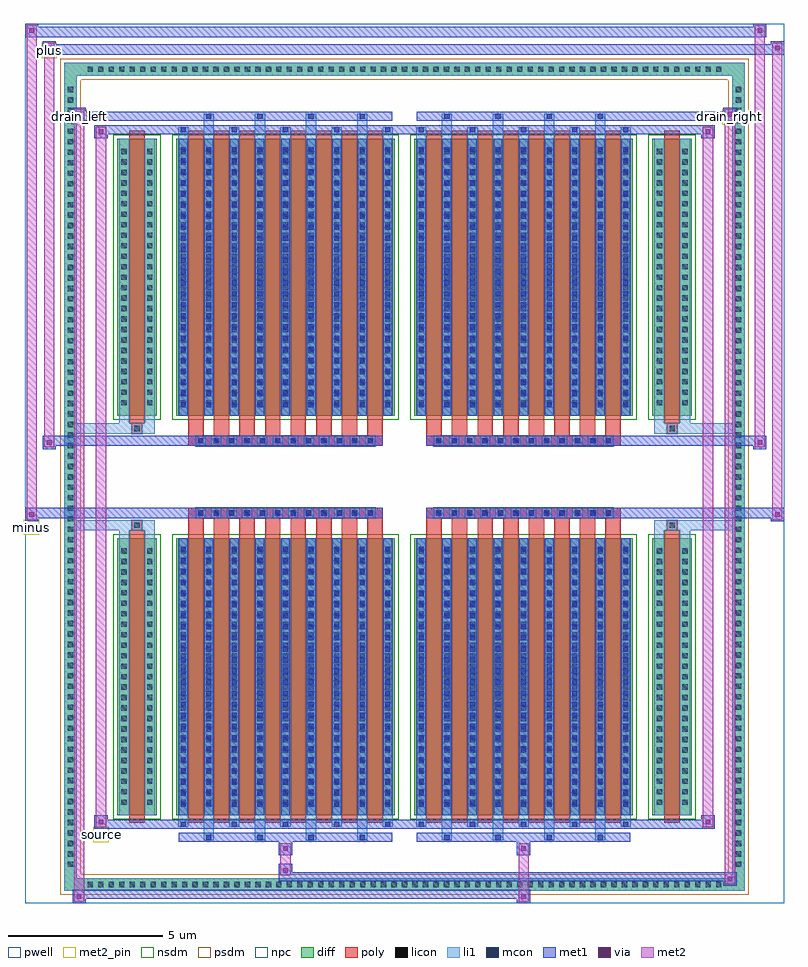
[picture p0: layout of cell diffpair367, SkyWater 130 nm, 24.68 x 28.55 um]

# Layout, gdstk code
import gdstk
lib = gdstk.Library(unit=1e-6, precision=5e-09)
def R(c, l, rs):  # rectangles x0, y0, x1, y1
    for r in rs: c.add(gdstk.rectangle(r[:2], r[2:], *l))
def A(c, l, x, y, w, h, nx, ny, dx, dy):  # array of equal rectangles
    R(c, l, [(x+i*dx, y+j*dy, x+i*dx+w, y+j*dy+h) for i in range(nx) for j in range(ny)])
def P(c, l, *ps):  # polygons
    for p in ps: c.add(gdstk.Polygon(p, *l))
pwell = (64, 44)
diff = (65, 20)
poly = (66, 20)
licon = (66, 44)
li1 = (67, 20)
mcon = (67, 44)
met1 = (68, 20)
via = (68, 44)
met2_pin = (69, 16)
met2 = (69, 20)
nsdm = (93, 44)
psdm = (94, 20)
npc = (95, 20)

diffpair367 = lib.new_cell('diffpair367')
R(diffpair367, pwell, [(-12.32,-13.84,12.32,14.71), (-9.64,-12.03,-0.01,-0.805), (0.01,-12.03,9.64,-0.805), (-9.64,0.805,-0.01,12.03), (0.01,0.805,9.64,12.03)])
A(diffpair367, diff, -10.405, -13.44, 0.41, 0.41, 61, 2, 0.34, 26.47)
A(diffpair367, diff, -11.05, -12.785, 0.41, 0.41, 1, 75, 0, 0.34)
A(diffpair367, diff, 10.64, -12.785, 0.41, 0.41, 1, 75, 0, 0.34)
R(diffpair367, diff, [(-10.405,-13.44,10.405,-13.03), (-11.05,-12.785,-10.64,12.785), (10.64,-12.785,11.05,12.785), (-9.33,-10.985,-8.05,-1.985), (-7.41,-10.985,-0.32,-1.985), (0.32,-10.985,7.41,-1.985), (8.05,-10.985,9.33,-1.985), (-9.33,1.985,-8.05,10.985), (-7.41,1.985,-0.32,10.985), (0.32,1.985,7.41,10.985), (8.05,1.985,9.33,10.985), (-10.405,13.03,10.405,13.44)])
P(diffpair367, diff, [(11.05,13.44),(-11.05,13.44),(-11.05,-13.03),(-10.64,-13.03),(-10.64,13.03),(10.64,13.03),(10.64,-13.03),(-10.64,-13.03),(-11.05,-13.03),(-11.05,-13.44),(11.05,-13.44)])
A(diffpair367, poly, -7.02, -11.235, 0.5, 9.5, 8, 2, 0.83, 12.97)
A(diffpair367, poly, 0.71, -11.235, 0.5, 9.5, 8, 2, 0.83, 12.97)
A(diffpair367, poly, -7.02, -1.735, 0.5, 0.4, 8, 2, 0.83, 3.07)
A(diffpair367, poly, 0.71, -1.735, 0.5, 0.4, 8, 2, 0.83, 3.07)
A(diffpair367, poly, -6.78, -1.335, 0.33, 0.33, 12, 2, 0.5, 2.34)
A(diffpair367, poly, 0.95, -1.335, 0.33, 0.33, 12, 2, 0.5, 2.34)
R(diffpair367, poly, [(-8.94,-11.235,-8.44,-1.735), (8.44,-11.235,8.94,-1.735), (-8.855,-1.735,-8.525,-1.405), (-8.855,-1.735,-8.525,-1.405), (8.525,-1.735,8.855,-1.405), (8.525,-1.735,8.855,-1.405), (-7.02,-1.335,-0.71,-1.005), (0.71,-1.335,7.02,-1.005), (-7.02,1.005,-0.71,1.335), (0.71,1.005,7.02,1.335), (-8.855,1.405,-8.525,1.735), (-8.855,1.405,-8.525,1.735), (8.525,1.405,8.855,1.735), (8.525,1.405,8.855,1.735), (-8.94,1.735,-8.44,11.235), (8.44,1.735,8.94,11.235)])
A(diffpair367, licon, -10.285, -13.32, 0.17, 0.17, 61, 2, 0.34, 26.47)
A(diffpair367, licon, -10.93, -12.665, 0.17, 0.17, 1, 75, 0, 0.34)
A(diffpair367, licon, 10.76, -12.665, 0.17, 0.17, 1, 75, 0, 0.34)
A(diffpair367, licon, -9.19, -10.65, 0.17, 0.17, 1, 25, 0, 0.34)
A(diffpair367, licon, -8.36, -10.65, 0.17, 0.17, 1, 25, 0, 0.34)
A(diffpair367, licon, -7.27, -10.65, 0.17, 0.17, 9, 25, 0.83, 0.34)
A(diffpair367, licon, 0.46, -10.65, 0.17, 0.17, 9, 25, 0.83, 0.34)
A(diffpair367, licon, 8.19, -10.65, 0.17, 0.17, 1, 25, 0, 0.34)
A(diffpair367, licon, 9.02, -10.65, 0.17, 0.17, 1, 25, 0, 0.34)
A(diffpair367, licon, -6.7, -1.255, 0.17, 0.17, 12, 2, 0.5, 2.34)
A(diffpair367, licon, 1.03, -1.255, 0.17, 0.17, 12, 2, 0.5, 2.34)
A(diffpair367, licon, -9.19, 2.32, 0.17, 0.17, 1, 25, 0, 0.34)
A(diffpair367, licon, -8.36, 2.32, 0.17, 0.17, 1, 25, 0, 0.34)
A(diffpair367, licon, -7.27, 2.32, 0.17, 0.17, 9, 25, 0.83, 0.34)
A(diffpair367, licon, 0.46, 2.32, 0.17, 0.17, 9, 25, 0.83, 0.34)
A(diffpair367, licon, 8.19, 2.32, 0.17, 0.17, 1, 25, 0, 0.34)
A(diffpair367, licon, 9.02, 2.32, 0.17, 0.17, 1, 25, 0, 0.34)
R(diffpair367, licon, [(-8.775,-1.655,-8.605,-1.485), (8.605,-1.655,8.775,-1.485), (-8.775,1.485,-8.605,1.655), (8.605,1.485,8.775,1.655)])
A(diffpair367, li1, -10.365, -13.4, 0.33, 0.33, 61, 2, 0.34, 26.47)
A(diffpair367, li1, -11.01, -12.745, 0.33, 0.33, 1, 75, 0, 0.34)
A(diffpair367, li1, 10.68, -12.745, 0.33, 0.33, 1, 75, 0, 0.34)
A(diffpair367, li1, -6.52, -11.79, 0.33, 0.805, 4, 2, 1.66, 22.775)
A(diffpair367, li1, -6.44, -11.79, 0.17, 0.17, 4, 2, 1.66, 23.41)
A(diffpair367, li1, 1.21, -11.79, 0.33, 0.805, 4, 2, 1.66, 22.775)
A(diffpair367, li1, 1.29, -11.79, 0.17, 0.17, 4, 2, 1.66, 23.41)
A(diffpair367, li1, -7.35, -11.36, 0.33, 0.375, 5, 2, 1.66, 22.345)
A(diffpair367, li1, -7.27, -11.36, 0.17, 0.17, 5, 2, 1.66, 22.55)
A(diffpair367, li1, 0.38, -11.36, 0.33, 0.375, 5, 2, 1.66, 22.345)
A(diffpair367, li1, 0.46, -11.36, 0.17, 0.17, 5, 2, 1.66, 22.55)
A(diffpair367, li1, -7.35, -10.985, 0.33, 9, 9, 2, 0.83, 12.97)
A(diffpair367, li1, 0.38, -10.985, 0.33, 9, 9, 2, 0.83, 12.97)
A(diffpair367, li1, -9.27, -10.73, 0.33, 0.33, 1, 25, 0, 0.34)
A(diffpair367, li1, -8.44, -10.73, 0.33, 0.33, 1, 25, 0, 0.34)
A(diffpair367, li1, -7.35, -10.73, 0.33, 0.33, 9, 25, 0.83, 0.34)
A(diffpair367, li1, 0.38, -10.73, 0.33, 0.33, 9, 25, 0.83, 0.34)
A(diffpair367, li1, 8.11, -10.73, 0.33, 0.33, 1, 25, 0, 0.34)
A(diffpair367, li1, 8.94, -10.73, 0.33, 0.33, 1, 25, 0, 0.34)
A(diffpair367, li1, -7.27, -10.71, 0.17, 0.17, 9, 24, 0.83, 0.36)
A(diffpair367, li1, -7.27, -10.71, 0.17, 8.45, 9, 2, 0.83, 12.97)
A(diffpair367, li1, 0.46, -10.71, 0.17, 0.17, 9, 24, 0.83, 0.36)
A(diffpair367, li1, 0.46, -10.71, 0.17, 8.45, 9, 2, 0.83, 12.97)
A(diffpair367, li1, -6.78, -1.335, 0.33, 0.33, 12, 2, 0.5, 2.34)
A(diffpair367, li1, 0.95, -1.335, 0.33, 0.33, 12, 2, 0.5, 2.34)
A(diffpair367, li1, -9.27, 2.24, 0.33, 0.33, 1, 25, 0, 0.34)
A(diffpair367, li1, -8.44, 2.24, 0.33, 0.33, 1, 25, 0, 0.34)
A(diffpair367, li1, -7.35, 2.24, 0.33, 0.33, 9, 25, 0.83, 0.34)
A(diffpair367, li1, 0.38, 2.24, 0.33, 0.33, 9, 25, 0.83, 0.34)
A(diffpair367, li1, 8.11, 2.24, 0.33, 0.33, 1, 25, 0, 0.34)
A(diffpair367, li1, 8.94, 2.24, 0.33, 0.33, 1, 25, 0, 0.34)
A(diffpair367, li1, -7.27, 2.26, 0.17, 0.17, 9, 24, 0.83, 0.36)
A(diffpair367, li1, 0.46, 2.26, 0.17, 0.17, 9, 24, 0.83, 0.36)
R(diffpair367, li1, [(-11.05,-13.44,-10.64,-13.03), (-11.05,-13.44,-10.64,-13.03), (-10.64,-13.44,10.64,-13.03), (10.64,-13.44,11.05,-13.03), (10.64,-13.44,11.05,-13.03), (-11.05,-13.03,-10.64,13.03), (10.64,-13.03,11.05,13.03), (-9.27,-10.985,-8.94,-1.985), (-8.44,-10.985,-8.11,-1.985), (8.11,-10.985,8.44,-1.985), (8.94,-10.985,9.27,-1.985), (-9.27,-1.985,-8.94,-1.405), (-8.44,-1.985,-8.11,-1.405), (8.11,-1.985,8.44,-1.405), (8.94,-1.985,9.27,-1.405), (-11.05,-1.735,-8.855,-1.405), (-9.27,-1.735,-8.855,-1.405), (-8.855,-1.735,-8.525,-1.405), (-8.525,-1.735,-8.11,-1.405), (8.11,-1.735,8.525,-1.405), (8.525,-1.735,8.855,-1.405), (8.525,-1.735,11.05,-1.405), (8.855,-1.735,9.27,-1.405), (-11.05,1.405,-8.855,1.735), (-9.27,1.405,-8.855,1.735), (-9.27,1.405,-8.94,1.985), (-8.855,1.405,-8.525,1.735), (-8.525,1.405,-8.11,1.735), (-8.44,1.405,-8.11,1.985), (8.11,1.405,8.525,1.735), (8.11,1.405,8.44,1.985), (8.525,1.405,8.855,1.735), (8.525,1.405,11.05,1.735), (8.855,1.405,9.27,1.735), (8.94,1.405,9.27,1.985), (-9.27,1.985,-8.94,10.985), (-8.44,1.985,-8.11,10.985), (8.11,1.985,8.44,10.985), (8.94,1.985,9.27,10.985), (-11.05,13.03,-10.64,13.44), (-11.05,13.03,-10.64,13.44), (-10.64,13.03,10.64,13.44), (10.64,13.03,11.05,13.44), (10.64,13.03,11.05,13.44)])
A(diffpair367, mcon, -6.44, -11.79, 0.17, 0.17, 4, 2, 1.66, 23.41)
A(diffpair367, mcon, 1.29, -11.79, 0.17, 0.17, 4, 2, 1.66, 23.41)
A(diffpair367, mcon, -7.27, -11.36, 0.17, 0.17, 5, 2, 1.66, 22.55)
A(diffpair367, mcon, 0.46, -11.36, 0.17, 0.17, 5, 2, 1.66, 22.55)
A(diffpair367, mcon, -7.27, -10.71, 0.17, 0.17, 9, 24, 0.83, 0.36)
A(diffpair367, mcon, 0.46, -10.71, 0.17, 0.17, 9, 24, 0.83, 0.36)
A(diffpair367, mcon, -6.7, -1.255, 0.17, 0.17, 12, 2, 0.5, 2.34)
A(diffpair367, mcon, 1.03, -1.255, 0.17, 0.17, 12, 2, 0.5, 2.34)
A(diffpair367, mcon, -7.27, 2.26, 0.17, 0.17, 9, 24, 0.83, 0.36)
A(diffpair367, mcon, 0.46, 2.26, 0.17, 0.17, 9, 24, 0.83, 0.36)
A(diffpair367, met1, -6.5, -11.85, 0.29, 0.29, 4, 2, 1.66, 23.41)
A(diffpair367, met1, 1.23, -11.85, 0.29, 0.29, 4, 2, 1.66, 23.41)
A(diffpair367, met1, -7.33, -11.42, 0.29, 0.29, 5, 2, 1.66, 22.55)
A(diffpair367, met1, 0.4, -11.42, 0.29, 0.29, 5, 2, 1.66, 22.55)
A(diffpair367, met1, -7.33, -10.985, 0.29, 9, 9, 2, 0.83, 12.97)
A(diffpair367, met1, 0.4, -10.985, 0.29, 9, 9, 2, 0.83, 12.97)
A(diffpair367, met1, -7.33, -10.77, 0.29, 0.29, 9, 24, 0.83, 0.36)
A(diffpair367, met1, 0.4, -10.77, 0.29, 0.29, 9, 24, 0.83, 0.36)
A(diffpair367, met1, -6.76, -1.315, 0.29, 0.29, 12, 2, 0.5, 2.34)
A(diffpair367, met1, 0.97, -1.315, 0.29, 0.29, 12, 2, 0.5, 2.34)
A(diffpair367, met1, -7.33, 2.2, 0.29, 0.29, 9, 24, 0.83, 0.36)
A(diffpair367, met1, 0.4, 2.2, 0.29, 0.29, 9, 24, 0.83, 0.36)
R(diffpair367, met1, [(-10.78,-13.84,-10.35,-13.41), (3.65,-13.84,4.08,-13.41), (-10.78,-13.7,4.08,-13.41), (10.35,-13.27,10.78,-12.84), (-4.08,-13.13,10.78,-12.84), (-4.08,-12.99,-3.65,-12.56), (-4.08,-12.28,-3.65,-11.85), (3.65,-12.28,4.08,-11.85), (-7.33,-11.85,-0.4,-11.56), (0.4,-11.85,7.33,-11.56), (-10.07,-11.42,-9.64,-10.99), (-10.07,-11.42,-7.33,-11.13), (-7.33,-11.42,-0.4,-11.13), (-0.4,-11.42,0.4,-11.13), (0.4,-11.42,7.33,-11.13), (7.33,-11.42,10.07,-11.13), (9.64,-11.42,10.07,-10.99), (-12.32,-1.435,-11.89,-1.005), (11.89,-1.435,12.32,-1.005), (-12.32,-1.335,-0.71,-1.005), (-7.02,-1.335,-0.71,-1.005), (0.71,-1.335,7.02,-1.005), (0.71,-1.335,12.32,-1.005), (-11.75,0.905,-11.32,1.335), (11.32,0.905,11.75,1.335), (-11.75,1.005,-7.02,1.335), (-7.02,1.005,-0.71,1.335), (0.71,1.005,7.02,1.335), (7.02,1.005,11.75,1.335), (-10.07,10.99,-9.64,11.42), (9.64,10.99,10.07,11.42), (-10.07,11.13,-7.33,11.42), (-7.33,11.13,-0.4,11.42), (-0.4,11.13,0.4,11.42), (0.4,11.13,7.33,11.42), (7.33,11.13,10.07,11.42), (-10.78,11.56,-10.35,11.99), (-10.78,11.56,-7.33,11.85), (-7.33,11.56,-0.4,11.85), (0.4,11.56,7.33,11.85), (7.33,11.56,10.78,11.85), (10.35,11.56,10.78,11.99), (-11.75,13.71,-11.32,14.14), (-11.75,13.71,-9.64,14.04), (-9.64,13.71,9.64,14.04), (9.64,13.71,12.32,14.04), (11.89,13.71,12.32,14.14), (-12.32,14.28,-11.89,14.71), (-12.32,14.28,-9.64,14.61), (-9.64,14.28,9.64,14.61), (9.64,14.28,11.75,14.61), (11.32,14.28,11.75,14.71)])
R(diffpair367, via, [(-10.64,-13.7,-10.49,-13.55), (3.79,-13.7,3.94,-13.55), (10.49,-13.13,10.64,-12.98), (-3.94,-12.85,-3.79,-12.7), (-3.94,-12.14,-3.79,-11.99), (3.79,-12.14,3.94,-11.99), (-9.93,-11.28,-9.78,-11.13), (9.78,-11.28,9.93,-11.13), (-12.18,-1.295,-12.03,-1.145), (12.03,-1.295,12.18,-1.145), (-11.61,1.045,-11.46,1.195), (11.46,1.045,11.61,1.195), (-9.93,11.13,-9.78,11.28), (9.78,11.13,9.93,11.28), (-10.64,11.7,-10.49,11.85), (10.49,11.7,10.64,11.85), (-11.61,13.85,-11.46,14), (12.03,13.85,12.18,14), (-12.18,14.42,-12.03,14.57), (11.46,14.42,11.61,14.57)])
R(diffpair367, met2_pin, [(-10.105,-11.87,-9.605,-11.37), (-12.355,-1.885,-11.855,-1.385), (-10.815,11.44,-10.315,11.94), (10.315,11.44,10.815,11.94), (-11.785,13.59,-11.285,14.09)])
R(diffpair367, met2, [(-10.73,-13.79,-10.4,-13.46), (-10.73,-13.79,-10.4,11.94), (3.7,-13.79,4.03,-13.46), (3.7,-13.46,4.03,-12.23), (10.4,-13.22,10.73,-12.89), (10.4,-13.22,10.73,11.94), (-4.03,-12.94,-3.7,-12.61), (-4.03,-12.61,-3.7,-12.23), (-4.03,-12.23,-3.7,-11.9), (3.7,-12.23,4.03,-11.9), (-10.02,-11.37,-9.69,-11.04), (-10.02,-11.37,-9.69,11.37), (9.69,-11.37,10.02,-11.04), (9.69,-11.37,10.02,11.37), (-12.27,-1.385,-11.94,-1.055), (-12.27,-1.385,-11.94,14.66), (11.94,-1.385,12.27,-1.055), (11.94,-1.385,12.27,14.09), (-11.7,0.955,-11.37,1.285), (-11.7,0.955,-11.37,14.09), (11.37,0.955,11.7,1.285), (11.37,0.955,11.7,14.66), (-10.02,11.04,-9.69,11.37), (9.69,11.04,10.02,11.37), (-10.73,11.61,-10.4,11.94), (10.4,11.61,10.73,11.94), (-11.7,13.76,-11.37,14.09), (11.94,13.76,12.27,14.09), (-12.27,14.33,-11.94,14.66), (11.37,14.33,11.7,14.66)])
P(diffpair367, met2, [(12.27,-1.385),(12.27,-1.385),(12.27,-1.055),(12.27,-1.055)],
  [(12.27,13.76),(12.27,13.76),(12.27,14.09),(12.27,14.09)],
  [(-11.94,-1.385),(-11.94,-1.385),(-11.94,-1.055),(-11.94,-1.055)],
  [(-11.94,14.33),(-11.94,14.33),(-11.94,14.66),(-11.94,14.66)],
  [(11.7,0.955),(11.7,0.955),(11.7,1.285),(11.7,1.285)],
  [(11.7,14.33),(11.7,14.33),(11.7,14.66),(11.7,14.66)],
  [(-11.37,0.955),(-11.37,0.955),(-11.37,1.285),(-11.37,1.285)],
  [(-11.37,13.76),(-11.37,13.76),(-11.37,14.09),(-11.37,14.09)],
  [(-10.4,-13.79),(-10.4,-13.79),(-10.4,-13.46),(-10.4,-13.46)],
  [(-10.4,11.61),(-10.4,11.61),(-10.4,11.94),(-10.4,11.94)],
  [(10.73,-13.22),(10.73,-13.22),(10.73,-12.89),(10.73,-12.89)],
  [(10.73,11.61),(10.73,11.61),(10.73,11.94),(10.73,11.94)],
  [(-9.69,-11.37),(-9.69,-11.37),(-9.69,-11.04),(-9.69,-11.04)],
  [(-9.69,11.04),(-9.69,11.04),(-9.69,11.37),(-9.69,11.37)],
  [(10.02,-11.37),(10.02,-11.37),(10.02,-11.04),(10.02,-11.04)],
  [(10.02,11.04),(10.02,11.04),(10.02,11.37),(10.02,11.37)])
R(diffpair367, nsdm, [(-9.46,-11.115,-7.92,-1.855), (-7.54,-11.115,-0.19,-1.855), (0.19,-11.115,7.54,-1.855), (7.92,-11.115,9.46,-1.855), (-9.46,1.855,-7.92,11.115), (-7.54,1.855,-0.19,11.115), (0.19,1.855,7.54,11.115), (7.92,1.855,9.46,11.115)])
P(diffpair367, psdm, [(11.18,13.57),(-11.18,13.57),(-11.18,-12.9),(-10.51,-12.9),(-10.51,12.9),(10.51,12.9),(10.51,-12.9),(-10.51,-12.9),(-11.18,-12.9),(-11.18,-13.57),(11.18,-13.57)])
A(diffpair367, npc, -6.8, -1.355, 0.37, 0.37, 12, 2, 0.5, 2.34)
A(diffpair367, npc, 0.93, -1.355, 0.37, 0.37, 12, 2, 0.5, 2.34)
R(diffpair367, npc, [(-8.875,-1.755,-8.505,-1.385), (8.505,-1.755,8.875,-1.385), (-6.8,-1.355,-5.93,-0.985), (-6.8,-1.355,-5.93,-0.985), (-6.3,-1.355,-5.43,-0.985), (-6.3,-1.355,-5.43,-0.985), (-5.8,-1.355,-4.93,-0.985), (-5.8,-1.355,-4.93,-0.985), (-5.3,-1.355,-4.43,-0.985), (-5.3,-1.355,-4.43,-0.985), (-4.8,-1.355,-3.93,-0.985), (-4.8,-1.355,-3.93,-0.985), (-4.3,-1.355,-3.43,-0.985), (-4.3,-1.355,-3.43,-0.985), (-3.8,-1.355,-2.93,-0.985), (-3.8,-1.355,-2.93,-0.985), (-3.3,-1.355,-2.43,-0.985), (-3.3,-1.355,-2.43,-0.985), (-2.8,-1.355,-1.93,-0.985), (-2.8,-1.355,-1.93,-0.985), (-2.3,-1.355,-1.43,-0.985), (-2.3,-1.355,-1.43,-0.985), (-1.8,-1.355,-0.93,-0.985), (-1.8,-1.355,-0.93,-0.985), (0.93,-1.355,1.8,-0.985), (0.93,-1.355,1.8,-0.985), (1.43,-1.355,2.3,-0.985), (1.43,-1.355,2.3,-0.985), (1.93,-1.355,2.8,-0.985), (1.93,-1.355,2.8,-0.985), (2.43,-1.355,3.3,-0.985), (2.43,-1.355,3.3,-0.985), (2.93,-1.355,3.8,-0.985), (2.93,-1.355,3.8,-0.985), (3.43,-1.355,4.3,-0.985), (3.43,-1.355,4.3,-0.985), (3.93,-1.355,4.8,-0.985), (3.93,-1.355,4.8,-0.985), (4.43,-1.355,5.3,-0.985), (4.43,-1.355,5.3,-0.985), (4.93,-1.355,5.8,-0.985), (4.93,-1.355,5.8,-0.985), (5.43,-1.355,6.3,-0.985), (5.43,-1.355,6.3,-0.985), (5.93,-1.355,6.8,-0.985), (5.93,-1.355,6.8,-0.985), (-6.8,0.985,-5.93,1.355), (-6.8,0.985,-5.93,1.355), (-6.3,0.985,-5.43,1.355), (-6.3,0.985,-5.43,1.355), (-5.8,0.985,-4.93,1.355), (-5.8,0.985,-4.93,1.355), (-5.3,0.985,-4.43,1.355), (-5.3,0.985,-4.43,1.355), (-4.8,0.985,-3.93,1.355), (-4.8,0.985,-3.93,1.355), (-4.3,0.985,-3.43,1.355), (-4.3,0.985,-3.43,1.355), (-3.8,0.985,-2.93,1.355), (-3.8,0.985,-2.93,1.355), (-3.3,0.985,-2.43,1.355), (-3.3,0.985,-2.43,1.355), (-2.8,0.985,-1.93,1.355), (-2.8,0.985,-1.93,1.355), (-2.3,0.985,-1.43,1.355), (-2.3,0.985,-1.43,1.355), (-1.8,0.985,-0.93,1.355), (-1.8,0.985,-0.93,1.355), (0.93,0.985,1.8,1.355), (0.93,0.985,1.8,1.355), (1.43,0.985,2.3,1.355), (1.43,0.985,2.3,1.355), (1.93,0.985,2.8,1.355), (1.93,0.985,2.8,1.355), (2.43,0.985,3.3,1.355), (2.43,0.985,3.3,1.355), (2.93,0.985,3.8,1.355), (2.93,0.985,3.8,1.355), (3.43,0.985,4.3,1.355), (3.43,0.985,4.3,1.355), (3.93,0.985,4.8,1.355), (3.93,0.985,4.8,1.355), (4.43,0.985,5.3,1.355), (4.43,0.985,5.3,1.355), (4.93,0.985,5.8,1.355), (4.93,0.985,5.8,1.355), (5.43,0.985,6.3,1.355), (5.43,0.985,6.3,1.355), (5.93,0.985,6.8,1.355), (5.93,0.985,6.8,1.355), (-8.875,1.385,-8.505,1.755), (8.505,1.385,8.875,1.755)])
diffpair367.add(gdstk.Label('minus', (-12.105,-1.635), layer=69, texttype=5))
diffpair367.add(gdstk.Label('drain_right', (10.565,11.69), layer=69, texttype=5))
diffpair367.add(gdstk.Label('drain_left', (-10.565,11.69), layer=69, texttype=5))
diffpair367.add(gdstk.Label('source', (-9.855,-11.62), layer=69, texttype=5))
diffpair367.add(gdstk.Label('plus', (-11.535,13.84), layer=69, texttype=5))

lib.write_gds('diffpair367.gds')
